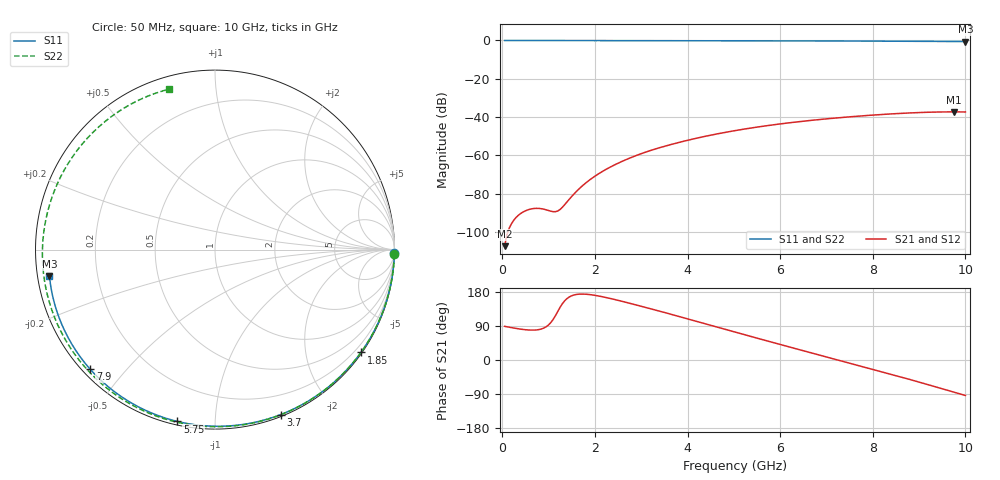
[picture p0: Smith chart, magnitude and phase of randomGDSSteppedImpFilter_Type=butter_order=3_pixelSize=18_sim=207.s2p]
! freq	dB(S11)	phase(S11)	dB(S12)	phase(S12)
!  dB(S21)	phase(S21)	dB(S22)	phase(S22)
!S-par simulation data
#  GHz  S  DB  R 50
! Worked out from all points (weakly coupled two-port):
!   200 points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, 50 MHz to 10 GHz, reference 50 ohm
!   highest |S21| = -37.31 dB at 9.75 GHz (marker M1); lowest = -107.5 dB at 50 MHz (marker M2)
!   lowest |S11| = -0.6 dB at 10 GHz (marker M3), VSWR 29.33, Z = 1.72 - j4.01 ohm
!   |S11| at or under -10 dB: nowhere
!   |S22| runs from -0.6 to 0.0 dB; largest |S21 - S12| = 0
!   S11 on the Smith chart (normalised r, x): 50 MHz: open; 1.85 GHz: 0.03, -3.16; 3.7 GHz: 0.02, -1.47; 5.75 GHz: 0.02, -0.80; 7.9 GHz: 0.02, -0.40; 10 GHz: 0.03, -0.08
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0.05  -0.00 -1.0  -107.46 88.8  -107.46 88.8  -0.00 -1.5
0.4  -0.01 -7.7  -90.34 81.4  -90.34 81.4  -0.01 -11.7
0.75  -0.02 -14.4  -87.71 79.5  -87.71 79.5  -0.03 -21.8
1.55  -0.04 -29.6  -80.13 171.6  -80.13 171.6  -0.06 -44.5
1.75  -0.04 -33.3  -75.49 174.0  -75.49 174.0  -0.06 -50.0
1.85  -0.04 -35.1  -73.52 173.1  -73.52 173.1  -0.06 -52.7
2.15  -0.05 -40.7  -68.60 167.3  -68.60 167.3  -0.07 -60.8
2.5  -0.06 -47.1  -64.12 157.5  -64.12 157.5  -0.09 -70.0
2.95  -0.07 -55.2  -59.58 143.4  -59.58 143.4  -0.10 -81.6
3.4  -0.08 -63.1  -56.00 128.8  -56.00 128.8  -0.12 -92.7
3.7  -0.09 -68.3  -53.99 118.6  -53.99 118.6  -0.13 -100.0
4.35  -0.11 -79.4  -50.24 96.4  -50.24 96.4  -0.16 -115.2
5.05  -0.14 -91.0  -47.00 72.8  -47.00 72.8  -0.19 -131.1
5.75  -0.17 -102.4  -44.40 49.3  -44.40 49.3  -0.23 -146.6
6.25  -0.20 -110.3  -42.86 32.7  -42.86 32.7  -0.26 -157.7
6.7  -0.23 -117.4  -41.67 17.9  -41.67 17.9  -0.30 -167.7
7.3  -0.27 -126.8  -40.30 -1.7  -40.30 -1.7  -0.35 178.7
7.9  -0.33 -136.2  -39.16 -21.3  -39.16 -21.3  -0.40 164.6
8.35  -0.37 -143.4  -38.44 -36.1  -38.44 -36.1  -0.44 153.4
9.05  -0.45 -154.7  -37.61 -60.1  -37.61 -60.1  -0.52 134.8
9.75  -0.55 -166.5  -37.31 -84.8  -37.31 -84.8  -0.60 114.1
10  -0.59 -170.8  -37.36 -93.6  -37.36 -93.6  -0.63 106.1
